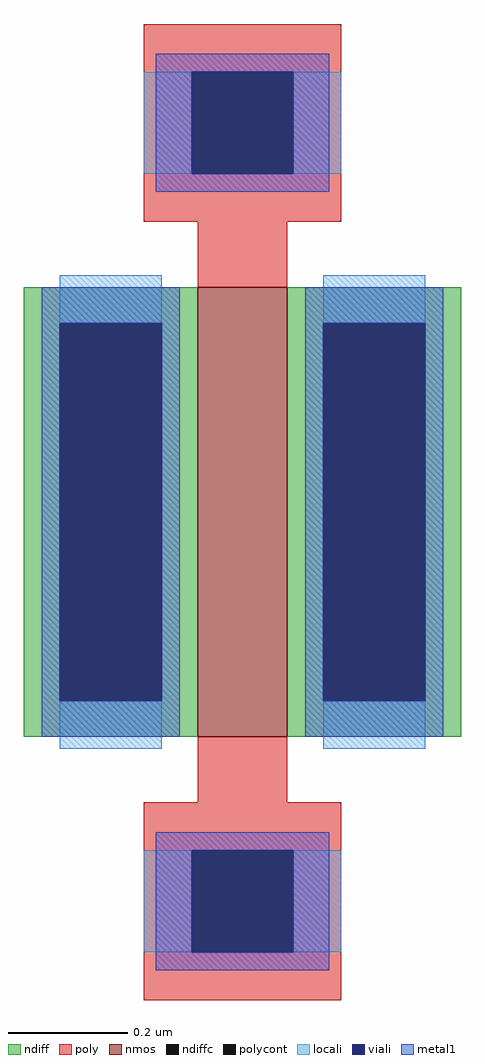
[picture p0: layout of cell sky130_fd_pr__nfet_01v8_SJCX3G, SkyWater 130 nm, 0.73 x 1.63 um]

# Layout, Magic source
magic
tech sky130A
magscale 1 2
<< nmos >>
rect -15 -75 15 75
<< ndiff >>
rect -73 63 -15 75
rect -73 -63 -61 63
rect -27 -63 -15 63
rect -73 -75 -15 -63
rect 15 63 73 75
rect 15 -63 27 63
rect 61 -63 73 63
rect 15 -75 73 -63
<< ndiffc >>
rect -61 -63 -27 63
rect 27 -63 61 63
<< poly >>
rect -33 147 33 163
rect -33 113 -17 147
rect 17 113 33 147
rect -33 97 33 113
rect -15 75 15 97
rect -15 -97 15 -75
rect -33 -113 33 -97
rect -33 -147 -17 -113
rect 17 -147 33 -113
rect -33 -163 33 -147
<< polycont >>
rect -17 113 17 147
rect -17 -147 17 -113
<< locali >>
rect -33 113 -17 147
rect 17 113 33 147
rect -61 63 -27 79
rect -61 -79 -27 -63
rect 27 63 61 79
rect 27 -79 61 -63
rect -33 -147 -17 -113
rect 17 -147 33 -113
<< viali >>
rect -17 113 17 147
rect -61 -63 -27 63
rect 27 -63 61 63
rect -17 -147 17 -113
<< metal1 >>
rect -29 147 29 153
rect -29 113 -17 147
rect 17 113 29 147
rect -29 107 29 113
rect -67 63 -21 75
rect -67 -63 -61 63
rect -27 -63 -21 63
rect -67 -75 -21 -63
rect 21 63 67 75
rect 21 -63 27 63
rect 61 -63 67 63
rect 21 -75 67 -63
rect -29 -113 29 -107
rect -29 -147 -17 -113
rect 17 -147 29 -113
rect -29 -153 29 -147
<< properties >>
string gencell sky130_fd_pr__nfet_01v8
string library sky130
string parameters w 0.75 l 0.150 m 1 nf 1 diffcov 100 polycov 100 guard 0 glc 0 grc 0 gtc 0 gbc 0 tbcov 100 rlcov 100 topc 1 botc 1 poverlap 0 doverlap 0 lmin 0.15 wmin 0.42 compatible {sky130_fd_pr__nfet_01v8 sky130_fd_pr__nfet_01v8_lvt  sky130_fd_bs_flash__special_sonosfet_star  sky130_fd_pr__nfet_g5v0d10v5 sky130_fd_pr__nfet_05v0_nvt  sky130_fd_pr__nfet_03v3_nvt} full_metal 0 viasrc 100 viadrn 100 viagate 100 viagb 0 viagr 0 viagl 0 viagt 0
<< end >>
